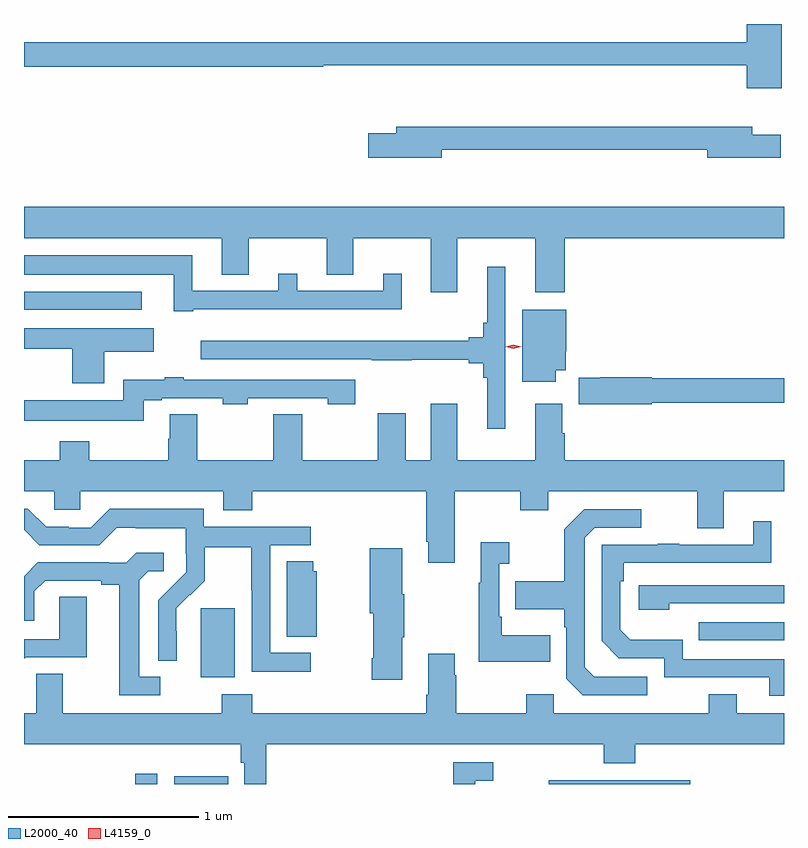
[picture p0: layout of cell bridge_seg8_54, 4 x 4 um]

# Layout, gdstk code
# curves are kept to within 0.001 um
import gdstk
lib = gdstk.Library(unit=1e-6, precision=1e-09)
def R(c, l, rs):  # rectangles x0, y0, x1, y1
    for r in rs: c.add(gdstk.rectangle(r[:2], r[2:], *l))
def P(c, l, *ps):  # polygons
    for p in ps: c.add(gdstk.Polygon(p, *l))
L2000_40 = (2000, 40)
L4159_0 = (4159, 0)

bridge_seg8_54 = lib.new_cell('bridge_seg8_54')
R(bridge_seg8_54, L2000_40, [(1081.858,1106.967,1081.974,1107.022), (1082.063,1106.967,1082.348,1107.007), (1084.035,1106.967,1084.78,1106.988), (1082.204,1107.53,1082.383,1107.891), (1084.825,1107.723,1085.273,1107.819), (1081.273,1109.463,1081.894,1109.559)])
P(bridge_seg8_54, L2000_40, [(1085.261,1110.967),(1085.078,1110.967),(1085.078,1110.871),(1081.273,1110.871),(1081.273,1110.742),(1082.849,1110.742),(1082.849,1110.75),(1085.078,1110.75),(1085.078,1110.63),(1085.261,1110.63)],
  [(1083.472,1110.306),(1084.868,1110.306),(1084.868,1110.263),(1085.257,1110.263),(1085.257,1110.385),(1085.107,1110.385),(1085.107,1110.427),(1083.233,1110.427),(1083.233,1110.393),(1083.084,1110.393),(1083.084,1110.263),(1083.472,1110.263)],
  [(1081.273,1109.84),(1082.315,1109.84),(1082.315,1109.647),(1082.455,1109.647),(1082.455,1109.84),(1082.867,1109.84),(1082.867,1109.647),(1083.007,1109.647),(1083.007,1109.84),(1083.413,1109.84),(1083.413,1109.556),(1083.553,1109.556),(1083.553,1109.84),(1083.965,1109.84),(1083.965,1109.556),(1084.118,1109.556),(1084.118,1109.84),(1085.273,1109.84),(1085.273,1110.004),(1081.273,1110.004)],
  [(1082.164,1109.465),(1083.262,1109.465),(1083.262,1109.653),(1083.164,1109.653),(1083.164,1109.562),(1082.71,1109.562),(1082.71,1109.653),(1082.612,1109.653),(1082.612,1109.562),(1082.158,1109.562),(1082.158,1109.749),(1081.273,1109.749),(1081.273,1109.648),(1082.06,1109.648),(1082.06,1109.454),(1082.164,1109.454)],
  [(1083.807,1109.689),(1083.71,1109.689),(1083.71,1109.395),(1083.691,1109.395),(1083.691,1109.318),(1083.614,1109.318),(1083.614,1109.301),(1083.358,1109.301),(1083.358,1109.299),(1082.202,1109.299),(1082.202,1109.202),(1083.103,1109.202),(1083.103,1109.197),(1083.314,1109.197),(1083.314,1109.2),(1083.614,1109.2),(1083.614,1109.182),(1083.691,1109.182),(1083.691,1109.105),(1083.71,1109.105),(1083.71,1108.836),(1083.807,1108.836)],
  [(1084.072,1109.144),(1084.123,1109.144),(1084.123,1109.245),(1084.126,1109.245),(1084.126,1109.464),(1083.896,1109.464),(1083.896,1109.084),(1084.072,1109.084)],
  [(1081.696,1109.243),(1081.957,1109.243),(1081.957,1109.365),(1081.273,1109.365),(1081.273,1109.259),(1081.526,1109.259),(1081.526,1109.076),(1081.696,1109.076)],
  [(1084.578,1108.974),(1085.273,1108.974),(1085.273,1109.102),(1084.578,1109.102),(1084.578,1109.108),(1084.306,1109.108),(1084.306,1109.104),(1084.194,1109.104),(1084.194,1108.966),(1084.578,1108.966)],
  [(1081.903,1108.986),(1081.999,1108.986),(1081.999,1108.998),(1082.319,1108.998),(1082.319,1108.966),(1082.451,1108.966),(1082.451,1108.998),(1082.871,1108.998),(1082.871,1108.966),(1083.016,1108.966),(1083.016,1109.094),(1082.114,1109.094),(1082.114,1109.107),(1082.014,1109.107),(1082.014,1109.095),(1081.796,1109.095),(1081.796,1108.987),(1081.273,1108.987),(1081.273,1108.88),(1081.903,1108.88)],
  [(1083.541,1108.508),(1083.886,1108.508),(1083.886,1108.409),(1084.033,1108.409),(1084.033,1108.508),(1084.817,1108.508),(1084.817,1108.314),(1084.957,1108.314),(1084.957,1108.508),(1085.273,1108.508),(1085.273,1108.672),(1084.118,1108.672),(1084.118,1108.812),(1084.105,1108.812),(1084.105,1108.969),(1083.965,1108.969),(1083.965,1108.672),(1083.553,1108.672),(1083.553,1108.969),(1083.413,1108.969),(1083.413,1108.672),(1083.283,1108.672),(1083.283,1108.918),(1083.136,1108.918),(1083.136,1108.672),(1082.738,1108.672),(1082.738,1108.913),(1082.584,1108.913),(1082.584,1108.672),(1082.186,1108.672),(1082.186,1108.913),(1082.039,1108.913),(1082.039,1108.784),(1082.032,1108.784),(1082.032,1108.672),(1081.617,1108.672),(1081.617,1108.771),(1081.462,1108.771),(1081.462,1108.672),(1081.273,1108.672),(1081.273,1108.508),(1081.431,1108.508),(1081.431,1108.41),(1081.569,1108.41),(1081.569,1108.508),(1082.321,1108.508),(1082.321,1108.409),(1082.474,1108.409),(1082.474,1108.508),(1083.389,1108.508),(1083.389,1108.243),(1083.401,1108.243),(1083.401,1108.131),(1083.541,1108.131)],
  [(1082.782,1107.657),(1082.568,1107.657),(1082.568,1108.224),(1082.782,1108.224),(1082.782,1108.32),(1082.22,1108.32),(1082.22,1108.417),(1081.723,1108.417),(1081.623,1108.317),(1081.508,1108.317),(1081.508,1108.32),(1081.389,1108.32),(1081.293,1108.416),(1081.273,1108.416),(1081.273,1108.304),(1081.353,1108.224),(1081.668,1108.224),(1081.761,1108.317),(1081.861,1108.317),(1081.861,1108.313),(1082.124,1108.313),(1082.124,1108.179),(1082.126,1108.179),(1082.126,1108.082),(1081.98,1107.934),(1081.98,1107.616),(1082.076,1107.616),(1082.075,1107.893),(1082.145,1107.963),(1082.148,1107.96),(1082.225,1108.037),(1082.225,1108.212),(1082.47,1108.212),(1082.47,1107.988),(1082.472,1107.988),(1082.472,1107.559),(1082.782,1107.559)],
  [(1084.552,1107.531),(1084.275,1107.531),(1084.224,1107.582),(1084.224,1108.263),(1084.278,1108.317),(1084.522,1108.317),(1084.522,1108.413),(1084.221,1108.413),(1084.116,1108.307),(1084.116,1108.035),(1083.859,1108.035),(1083.859,1107.887),(1084.116,1107.887),(1084.116,1107.791),(1084.128,1107.791),(1084.128,1107.522),(1084.215,1107.435),(1084.552,1107.435)],
  [(1085.273,1107.624),(1084.74,1107.624),(1084.74,1107.727),(1084.463,1107.727),(1084.41,1107.78),(1084.41,1108.034),(1084.43,1108.034),(1084.43,1108.131),(1085.207,1108.132),(1085.207,1108.351),(1085.111,1108.351),(1085.111,1108.227),(1084.721,1108.227),(1084.721,1108.232),(1084.609,1108.232),(1084.609,1108.227),(1084.314,1108.227),(1084.314,1107.72),(1084.404,1107.63),(1084.644,1107.63),(1084.644,1107.528),(1085.195,1107.528),(1085.195,1107.432),(1085.273,1107.432)],
  [(1084.043,1107.751),(1083.787,1107.751),(1083.787,1107.847),(1083.774,1107.847),(1083.774,1108.127),(1083.826,1108.127),(1083.826,1108.24),(1083.677,1108.24),(1083.677,1108.027),(1083.666,1108.027),(1083.666,1107.611),(1084.043,1107.611)],
  [(1083.265,1107.739),(1083.273,1107.739),(1083.273,1107.967),(1083.265,1107.967),(1083.265,1108.207),(1083.092,1108.207),(1083.092,1107.867),(1083.11,1107.867),(1083.11,1107.628),(1083.103,1107.628),(1083.103,1107.516),(1083.265,1107.516)],
  [(1081.99,1107.531),(1081.879,1107.531),(1081.879,1108.039),(1081.926,1108.086),(1082.008,1108.086),(1082.008,1108.183),(1081.864,1108.183),(1081.812,1108.131),(1081.718,1108.131),(1081.718,1108.134),(1081.346,1108.134),(1081.273,1108.061),(1081.273,1107.825),(1081.327,1107.825),(1081.327,1107.981),(1081.384,1108.038),(1081.679,1108.038),(1081.679,1108.016),(1081.775,1108.016),(1081.775,1107.435),(1081.99,1107.435)],
  [(1082.815,1108.086),(1082.796,1108.086),(1082.796,1108.139),(1082.657,1108.139),(1082.657,1107.742),(1082.815,1107.742)],
  [(1084.67,1107.918),(1085.273,1107.918),(1085.273,1108.014),(1084.509,1108.014),(1084.509,1107.884),(1084.67,1107.884)],
  [(1081.279,1107.633),(1081.603,1107.633),(1081.603,1107.953),(1081.458,1107.953),(1081.458,1107.729),(1081.273,1107.729),(1081.273,1107.629),(1081.279,1107.629)],
  [(1082.549,1107.176),(1084.325,1107.176),(1084.325,1107.077),(1084.49,1107.077),(1084.49,1107.176),(1085.273,1107.176),(1085.273,1107.34),(1085.023,1107.34),(1085.023,1107.439),(1084.876,1107.439),(1084.876,1107.34),(1084.062,1107.34),(1084.062,1107.439),(1083.916,1107.439),(1083.916,1107.34),(1083.549,1107.34),(1083.549,1107.539),(1083.541,1107.539),(1083.541,1107.652),(1083.401,1107.652),(1083.401,1107.436),(1083.389,1107.436),(1083.389,1107.34),(1082.474,1107.34),(1082.474,1107.439),(1082.314,1107.439),(1082.314,1107.34),(1081.477,1107.34),(1081.477,1107.548),(1081.337,1107.548),(1081.337,1107.34),(1081.273,1107.34),(1081.273,1107.176),(1082.413,1107.176),(1082.413,1107.08),(1082.433,1107.08),(1082.433,1106.967),(1082.549,1106.967)],
  [(1083.648,1106.984),(1083.742,1106.984),(1083.742,1107.081),(1083.532,1107.081),(1083.532,1106.967),(1083.648,1106.967)])
P(bridge_seg8_54, L4159_0, [(1083.849,1109.259),(1083.809,1109.269),(1083.809,1109.269),(1083.809,1109.269),(1083.849,1109.279),(1083.889,1109.269),(1083.889,1109.269),(1083.889,1109.269)])

lib.write_gds('bridge_seg8_54.gds')
